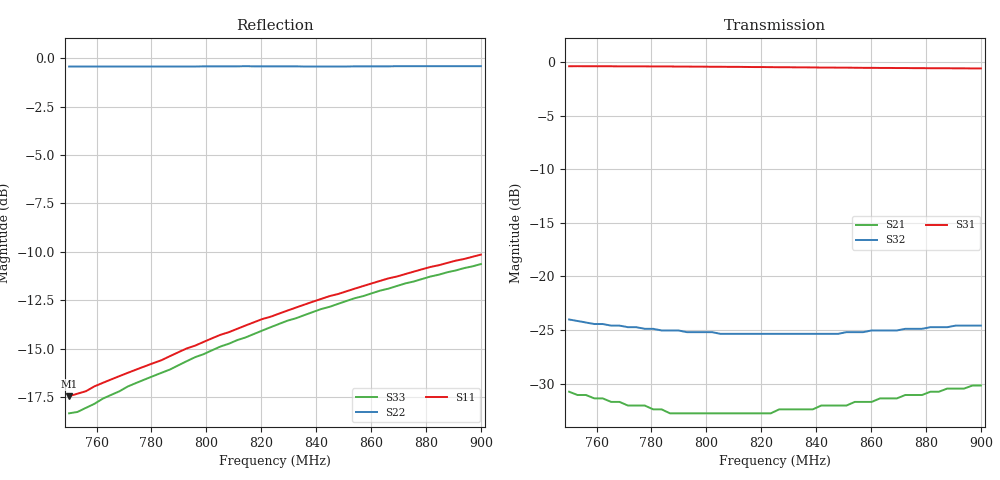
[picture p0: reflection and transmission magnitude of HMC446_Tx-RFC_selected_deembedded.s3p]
!Hittite Microwave Corporation
!12 Elizabeth Drive
!Chelmsford, MA 01824
!Tel: 978-250-3343
!Fax: 978-250-3373
!Device: HMC446, 824-894 GHz, GaAs MMIC 10W T/R Switch in SOT26 package
!Misc: Port 1= RFC, Port 2 = Rx, Port 3 = Tx, Vctl=0/+8V, Tx-RFC selected, Room
# MHZ S MA R 50
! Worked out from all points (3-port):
!   50 points, 750 MHz to 900 MHz, reference 50 ohm
!   strongest paths, dB at 750 MHz, 786.7 MHz, 826.5 MHz, 863.3 MHz, 900 MHz:
!     S31: -0.4, -0.4, -0.5, -0.5, -0.6
!     S32: -24.0, -25.0, -25.4, -25.0, -24.6
!     S21: -30.8, -32.8, -32.4, -31.4, -30.2
!   lowest |S11| = -17.5 dB at 750 MHz (marker M1), VSWR 1.31, Z = 38.3 - j1.55 ohm
!   |S11| at or under -10 dB: start of sweep to end of sweep
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750  0.134 -171.5  0.03 169.8  0.955 11.2
     0.029 170.2  0.952 174.0  0.062 -107.1
     0.956 10.8  0.063 -107.9  0.121 -27.1
771.429  0.154 -161.5  0.026 154.9  0.957 9.3
         0.025 155.4  0.952 172.4  0.059 -101.4
         0.955 8.9  0.058 -102.3  0.142 -41.8
783.673  0.166 -156.3  0.023 146.3  0.957 8.2
         0.024 146.8  0.952 171.5  0.057 -98.2
         0.954 7.8  0.056 -99.1  0.154 -50.1
786.735  0.17 -155.6  0.023 144.2  0.957 8.0
         0.023 144.6  0.952 171.3  0.057 -97.4
         0.954 7.6  0.056 -98.3  0.157 -51.3
805.102  0.193 -151.7  0.023 131.9  0.956 6.3
         0.023 132.0  0.953 170.0  0.056 -92.9
         0.951 6.1  0.054 -93.3  0.18 -59.0
808.163  0.196 -151.0  0.022 129.9  0.956 6.0
         0.023 129.9  0.953 169.8  0.056 -92.2
         0.95 5.8  0.054 -92.5  0.183 -60.4
823.469  0.215 -148.8  0.023 121.6  0.952 4.7
         0.023 121.0  0.953 168.7  0.055 -89.0
         0.947 4.7  0.054 -88.6  0.202 -65.8
826.531  0.219 -148.5  0.023 120.2  0.951 4.5
         0.024 119.4  0.953 168.5  0.055 -88.4
         0.946 4.5  0.054 -87.8  0.206 -66.6
851.02  0.25 -146.5  0.025 110.0  0.942 2.6
        0.025 108.1  0.952 166.9  0.055 -83.9
        0.942 2.9  0.055 -82.5  0.236 -73.5
900  0.311 -145.6  0.032 98.0  0.925 -0.1
     0.031 96.9  0.954 163.7  0.058 -77.9
     0.934 -0.1  0.059 -77.5  0.294 -83.5
